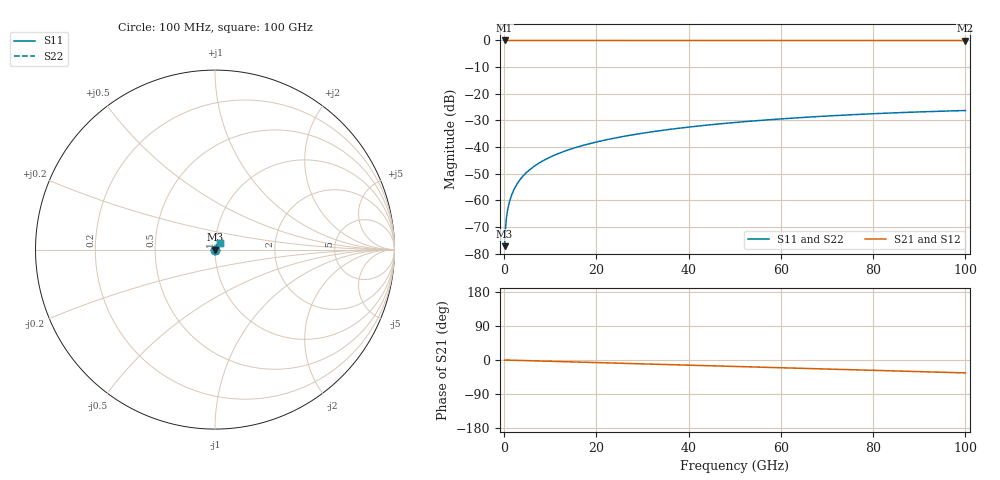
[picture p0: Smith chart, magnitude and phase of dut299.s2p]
! Touchstone file exported from HFSS 2026.1.0
!  File:  C:/ffzhzh/LocalFiles/Ansys_Project_Files/temp_train_TSV_299_1783509146_31944.aedt
!  Generated:  07:13:43 PM Jul  8, 2026
!  Design:  TSV
!  Project:  temp_train_TSV_299_1783509146_31944
! Variables:
!  h_bsmrdl = 2um
!  h_ox = 20um
!  h_rdl = 5um
!  h_sub = 64.65um
!  h_tmrdl = 5um
!  h_tsv = 64.65um
!  h_via = 3um
!  l_bsmrdl = 300um
!  l_sub = 421.32um
!  l_tmrdl = 200um
!  m_sub = 200um
!  pitch = 47.77um
!  r_tsv = 10.66um
!  s_tmrdl = 10um
!  w_bsmrdl = 18um
!  w_sub = 500um
!  w_tmrdl = 12um
!  x_tsv_center1 = 206um
!  x_tsv_center2 = 524um
!  x_tsv_center3 = 736um
!  x_tsv_center4 = 1054um
!  x_tsv_center5 = 1266um
!  x_tsv_center6 = 1584um
# GHz S MA R 50.000000
! Terminal data exported
! Port[1] = TSV1_1_T1
! Port[2] = TSV1_1_T2
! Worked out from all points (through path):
!   1000 points, 100 MHz to 100 GHz, reference 50 ohm
!   highest |S21| = 0.00 dB at 100 MHz (marker M1); lowest = 0.0 dB at 100 GHz (marker M2)
!   group delay of S21, straight-line fit = 945 fs
!   lowest |S11| = -77.2 dB at 100 MHz (marker M3), VSWR 1.00, Z = 50 + j0.00969 ohm
!   |S11| at or under -10 dB: start of sweep to end of sweep
!   |S22| runs from -77.2 to -26.3 dB; largest |S21 - S12| = 2.7e-15
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0.1  0.0001381 44.6  0.9999 -0.0  0.9999 -0.0  0.0001381 44.6
! Gamma 0 0 0 0
! Port Impedance 50 0 50 0
0.4  0.0003892 68.5  0.9999 -0.1  0.9999 -0.1  0.0003892 68.5
0.7  0.0006184 71.8  0.9998 -0.2  0.9998 -0.2  0.0006184 71.8
0.8  0.00069 72.5  0.9998 -0.3  0.9998 -0.3  0.00069 72.5
1.1  0.0008985 74.2  0.9998 -0.4  0.9998 -0.4  0.0008985 74.2
1.4  0.001103 75.5  0.9997 -0.5  0.9997 -0.5  0.001103 75.5
1.9  0.001438 76.9  0.9997 -0.7  0.9997 -0.7  0.001438 76.9
2.4  0.001768 77.8  0.9996 -0.8  0.9996 -0.8  0.001768 77.8
3.1  0.002221 78.6  0.9996 -1.1  0.9996 -1.1  0.002221 78.6
3.9  0.00273 79.2  0.9995 -1.3  0.9995 -1.3  0.00273 79.2
4.9  0.003356 79.7  0.9995 -1.7  0.9995 -1.7  0.003356 79.7
6.1  0.004101 80.1  0.9994 -2.1  0.9994 -2.1  0.004101 80.1
8.9  0.00582 80.3  0.9993 -3.0  0.9993 -3.0  0.00582 80.3
12.4  0.007936 79.9  0.9992 -4.2  0.9992 -4.2  0.007936 79.9
16.8  0.01055 79.1  0.999 -5.7  0.999 -5.7  0.01055 79.1
24.2  0.01487 77.4  0.9988 -8.2  0.9988 -8.2  0.01487 77.4
33.4  0.02008 74.9  0.9985 -11.4  0.9985 -11.4  0.02008 74.8
41.2  0.02432 72.6  0.9982 -14.0  0.9982 -14.0  0.02432 72.5
50.1  0.02894 69.8  0.9979 -17.0  0.9979 -17.0  0.02894 69.8
66.7  0.03679 64.5  0.9974 -22.7  0.9974 -22.7  0.03679 64.5
83.4  0.04344 59.1  0.9969 -28.4  0.9969 -28.4  0.04344 59.0
100  0.04845 53.7  0.9963 -34.1  0.9963 -34.1  0.04845 53.6
